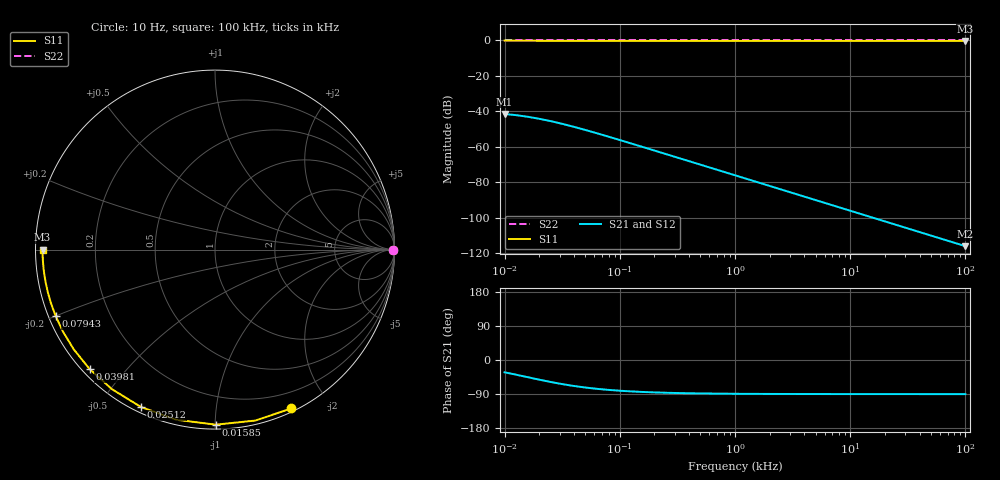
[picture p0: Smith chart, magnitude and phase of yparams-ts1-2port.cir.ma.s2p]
# Hz Y MA R 50
!  Freq  magY11  angY11  magY21  angY21  magY12  angY12  magY22  angY22
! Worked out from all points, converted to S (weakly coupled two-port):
!   41 points, 10 Hz to 100 kHz, reference 50 ohm
!   highest |S21| = -41.57 dB at 10 Hz (marker M1); lowest = -116.2 dB at 100 kHz (marker M2)
!   lowest |S11| = -0.3 dB at 100 kHz (marker M3), VSWR 50.00, Z = 1 - j0.00796 ohm
!   |S11| at or under -10 dB: nowhere
!   |S22| runs from -0.1 to -0.1 dB; largest |S21 - S12| = 1.7e-18
!   S11 on the Smith chart (normalised r, x): 10 Hz: 0.03, -1.59; 15.85 Hz: 0.03, -1.00; 25.12 Hz: 0.02, -0.63; 39.81 Hz: 0.02, -0.40; 79.43 Hz: 0.02, -0.20; 100 kHz: 0.02, -0.00
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10  0.6282 88.8  0.004999 179.3  0.004999 179.3  0.005 0.0
12.58925  0.7908 88.7  0.004999 179.1  0.004999 179.1  0.005 0.0
15.84893  0.9955 88.6  0.004999 178.9  0.004999 178.9  0.005 0.0
19.95262  1.253 88.3  0.004998 178.6  0.004998 178.6  0.005 0.0
25.11886  1.577 88.0  0.004997 178.2  0.004997 178.2  0.005 0.0
31.62278  1.985 87.6  0.004996 177.7  0.004996 177.7  0.005 0.0
39.81072  2.498 87.0  0.004993 177.1  0.004993 177.1  0.005 0.0
50.11872  3.143 86.3  0.00499 176.4  0.00499 176.4  0.005 0.0
63.09573  3.952 85.4  0.004984 175.5  0.004984 175.5  0.005 0.0
79.43282  4.966 84.2  0.004975 174.3  0.004975 174.3  0.005 0.0
100  6.234 82.8  0.00496 172.8  0.00496 172.8  0.005 0.0
125.8925  7.812 81.0  0.004938 171.0  0.004938 171.0  0.005 0.0
158.4893  9.765 78.7  0.004903 168.7  0.004903 168.7  0.005 0.0
251.1886  15.05 72.5  0.004768 162.5  0.004768 162.5  0.005 0.0
316.2278  18.46 68.3  0.004646 158.3  0.004646 158.3  0.005 0.0
501.1872  26.64 57.8  0.004231 147.8  0.004231 147.8  0.005 0.0
794.3282  35.32 45.0  0.003539 135.1  0.003539 135.1  0.005 0.0
1258.925  42.26 32.3  0.002671 122.3  0.002671 122.3  0.005 0.0
1584.893  44.68 26.7  0.002244 116.7  0.002244 116.7  0.005 0.0
5011.872  49.38 9.0  0.0007841 99.0  0.0007841 99.0  0.005 0.0
25118.86  49.97 1.8  0.0001583 91.8  0.0001583 91.8  0.005 0.0
100000  50 0.5  3.979e-05 90.4  3.979e-05 90.4  0.005 0.0
